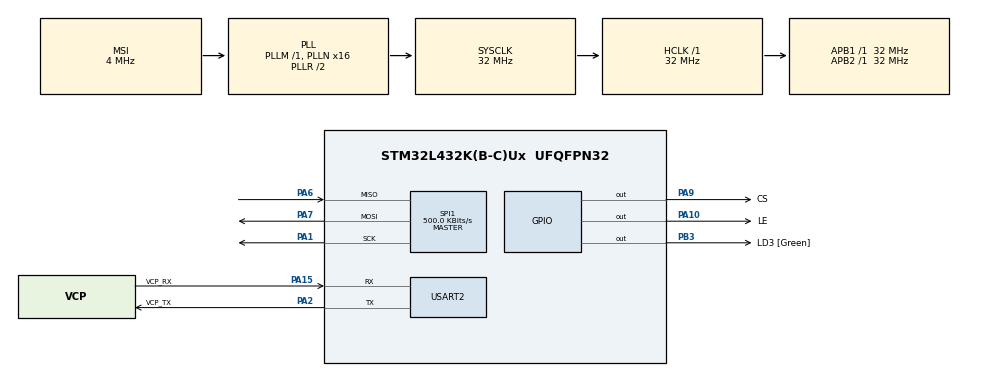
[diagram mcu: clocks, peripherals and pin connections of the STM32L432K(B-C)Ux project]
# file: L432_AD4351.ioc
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Mcu.Family=STM32L4
Mcu.Name=STM32L432K(B-C)Ux
Mcu.Package=UFQFPN32
NVIC.PriorityGroup=NVIC_PRIORITYGROUP_4
PA0.GPIO_Label=MCO [High speed clock in]
PA0.Mode=HSE-External-Clock-Source-for-LittleOrca
PA0.Signal=RCC_CK_IN
PA1.Mode=Full_Duplex_Master
PA1.Signal=SPI1_SCK
PA10.GPIO_Label=LE
PA10.Signal=GPIO_Output
PA13\ (JTMS-SWDIO).GPIO_Label=SWDIO
PA13\ (JTMS-SWDIO).Mode=Serial_Wire
PA13\ (JTMS-SWDIO).Signal=SYS_JTMS-SWDIO
PA14\ (JTCK-SWCLK).GPIO_Label=SWCLK
PA14\ (JTCK-SWCLK).Mode=Serial_Wire
PA14\ (JTCK-SWCLK).Signal=SYS_JTCK-SWCLK
PA15\ (JTDI).GPIO_Label=VCP_RX
PA15\ (JTDI).Mode=Asynchronous
PA15\ (JTDI).Signal=USART2_RX
PA2.GPIO_Label=VCP_TX
PA2.Mode=Asynchronous
PA2.Signal=USART2_TX
PA6.Mode=Full_Duplex_Master
PA6.Signal=SPI1_MISO
PA7.Mode=Full_Duplex_Master
PA7.Signal=SPI1_MOSI
PA9.GPIO_Label=CS
PA9.Signal=GPIO_Output
PB3\ (JTDO-TRACESWO).GPIO_Label=LD3 [Green]
PB3\ (JTDO-TRACESWO).Signal=GPIO_Output
PC14-OSC32_IN\ (PC14).Mode=LSE-External-Oscillator
PC14-OSC32_IN\ (PC14).Signal=RCC_OSC32_IN
PC15-OSC32_OUT\ (PC15).Mode=LSE-External-Oscillator
PC15-OSC32_OUT\ (PC15).Signal=RCC_OSC32_OUT
ProjectManager.HeapSize=0x200
ProjectManager.StackSize=0x400
ProjectManager.TargetToolchain=STM32CubeIDE
RCC.AHBFreq_Value=32000000
RCC.APB1Freq_Value=32000000
RCC.APB1TimFreq_Value=32000000
RCC.APB2Freq_Value=32000000
RCC.APB2TimFreq_Value=32000000
RCC.CortexFreq_Value=32000000
RCC.HCLKFreq_Value=32000000
RCC.HSE_VALUE=8000000
RCC.HSI16_VALUE=16000000
RCC.HSI48_VALUE=48000000
RCC.HSI_VALUE=16000000
RCC.MSI_VALUE=4000000
RCC.PLLMUL=RCC_PLLMUL_4
RCC.PLLN=16
RCC.SYSCLKFreq_VALUE=32000000
RCC.SYSCLKSource=RCC_SYSCLKSOURCE_PLLCLK
RCC.VCOOutputFreq_Value=64000000
SPI1.BaudRatePrescaler=SPI_BAUDRATEPRESCALER_64
SPI1.CalculateBaudRate=500.0 KBits/s
SPI1.DataSize=SPI_DATASIZE_8BIT
SPI1.Direction=SPI_DIRECTION_2LINES
SPI1.Mode=SPI_MODE_MASTER
SPI1.VirtualType=VM_MASTER
USART2.VirtualMode-Asynchronous=VM_ASYNC
board=NUCLEO-L432KC

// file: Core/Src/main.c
/* USER CODE BEGIN Header */
/**
  ******************************************************************************
  * @file           : main.c
  * @brief          : Main program body
  ******************************************************************************
  * @attention
  *
  * Copyright (c) 2026 STMicroelectronics.
  * All rights reserved.
  *
  * This software is licensed under terms that can be found in the LICENSE file
  * in the root directory of this software component.
  * If no LICENSE file comes with this software, it is provided AS-IS.
  *
  ******************************************************************************
  */
/* USER CODE END Header */
#include "main.h"

SPI_HandleTypeDef hspi1;

UART_HandleTypeDef huart2;

/* USER CODE BEGIN PV */
uint8_t	instruction = 0x00; // one byte of something or other
uint32_t registers[6] = {0x780000, 0x8008011, 0x4E42, 0x4B3, 0x9503FC, 0x580005}; // 1200MHz 10MHz ref clock
uint32_t AD4351_SPI_Timeout = 100;
uint16_t AD4351_SPI_NoBytes = 1;
/* USER CODE END PV */

void SystemClock_Config(void);
static void MX_GPIO_Init(void);
static void MX_USART2_UART_Init(void);
static void MX_SPI1_Init(void);

/* USER CODE BEGIN 0 */
void WriteRegister (const uint32_t value)
{
	HAL_GPIO_WritePin(LE_GPIO_Port, LE_Pin, GPIO_PIN_RESET);
	for (int i = 3; i >= 0; i--)
	{
		instruction = (value >> (8 * i)) & 0xFF;
		HAL_SPI_Transmit(&hspi1, &instruction, AD4351_SPI_NoBytes, AD4351_SPI_Timeout);
	}
	HAL_GPIO_WritePin(LE_GPIO_Port, LE_Pin, GPIO_PIN_SET);
	HAL_GPIO_WritePin(LE_GPIO_Port, LE_Pin, GPIO_PIN_RESET);

}

void SetAD4351()
{
	HAL_GPIO_WritePin(CS_GPIO_Port, CS_Pin, GPIO_PIN_RESET);
	for (int i = 5; i >= 0; i--)
	{
		WriteRegister(registers[i]);

	}
	HAL_GPIO_WritePin(CS_GPIO_Port, CS_Pin, GPIO_PIN_SET);
}
/* USER CODE END 0 */

int main(void)
{

  /* MCU Configuration--------------------------------------------------------*/

  /* Reset of all peripherals, Initializes the Flash interface and the Systick. */
  HAL_Init();

  /* Configure the system clock */
  SystemClock_Config();

  /* Initialize all configured peripherals */
  MX_GPIO_Init();
  MX_USART2_UART_Init();
  MX_SPI1_Init();

  /* Infinite loop */
  /* USER CODE BEGIN WHILE */
  while (1)
  {
	  // repeatedly send the registers over SPI every 2 seconds
	  // not necessary but great if you are looking for the data with
	  // a logic analyser - you can't miss it :-)
	  SetAD4351();
	  HAL_GPIO_TogglePin(LD3_GPIO_Port, LD3_Pin);
	  HAL_Delay(2000);
    /* USER CODE END WHILE */

  }
}

void SystemClock_Config(void)
{
  RCC_OscInitTypeDef RCC_OscInitStruct = {0};
  RCC_ClkInitTypeDef RCC_ClkInitStruct = {0};

  /** Configure the main internal regulator output voltage
  */
  if (HAL_PWREx_ControlVoltageScaling(PWR_REGULATOR_VOLTAGE_SCALE1) != HAL_OK)
  {
    Error_Handler();
  }

  /** Configure LSE Drive Capability
  */
  HAL_PWR_EnableBkUpAccess();
  __HAL_RCC_LSEDRIVE_CONFIG(RCC_LSEDRIVE_LOW);

  /** Initializes the RCC Oscillators according to the specified parameters
  * in the RCC_OscInitTypeDef structure.
  */
  RCC_OscInitStruct.OscillatorType = RCC_OSCILLATORTYPE_LSE|RCC_OSCILLATORTYPE_MSI;
  RCC_OscInitStruct.LSEState = RCC_LSE_ON;
  RCC_OscInitStruct.MSIState = RCC_MSI_ON;
  RCC_OscInitStruct.MSICalibrationValue = 0;
  RCC_OscInitStruct.MSIClockRange = RCC_MSIRANGE_6;
  RCC_OscInitStruct.PLL.PLLState = RCC_PLL_ON;
  RCC_OscInitStruct.PLL.PLLSource = RCC_PLLSOURCE_MSI;
  RCC_OscInitStruct.PLL.PLLM = 1;
  RCC_OscInitStruct.PLL.PLLN = 16;
  RCC_OscInitStruct.PLL.PLLP = RCC_PLLP_DIV7;
  RCC_OscInitStruct.PLL.PLLQ = RCC_PLLQ_DIV2;
  RCC_OscInitStruct.PLL.PLLR = RCC_PLLR_DIV2;
  if (HAL_RCC_OscConfig(&RCC_OscInitStruct) != HAL_OK)
  {
    Error_Handler();
  }

  /** Initializes the CPU, AHB and APB buses clocks
  */
  RCC_ClkInitStruct.ClockType = RCC_CLOCKTYPE_HCLK|RCC_CLOCKTYPE_SYSCLK
                              |RCC_CLOCKTYPE_PCLK1|RCC_CLOCKTYPE_PCLK2;
  RCC_ClkInitStruct.SYSCLKSource = RCC_SYSCLKSOURCE_PLLCLK;
  RCC_ClkInitStruct.AHBCLKDivider = RCC_SYSCLK_DIV1;
  RCC_ClkInitStruct.APB1CLKDivider = RCC_HCLK_DIV1;
  RCC_ClkInitStruct.APB2CLKDivider = RCC_HCLK_DIV1;

  if (HAL_RCC_ClockConfig(&RCC_ClkInitStruct, FLASH_LATENCY_1) != HAL_OK)
  {
    Error_Handler();
  }

  /** Enable MSI Auto calibration
  */
  HAL_RCCEx_EnableMSIPLLMode();
}

static void MX_SPI1_Init(void)
{

  /* SPI1 parameter configuration*/
  hspi1.Instance = SPI1;
  hspi1.Init.Mode = SPI_MODE_MASTER;
  hspi1.Init.Direction = SPI_DIRECTION_2LINES;
  hspi1.Init.DataSize = SPI_DATASIZE_8BIT;
  hspi1.Init.CLKPolarity = SPI_POLARITY_LOW;
  hspi1.Init.CLKPhase = SPI_PHASE_1EDGE;
  hspi1.Init.NSS = SPI_NSS_SOFT;
  hspi1.Init.BaudRatePrescaler = SPI_BAUDRATEPRESCALER_64;
  hspi1.Init.FirstBit = SPI_FIRSTBIT_MSB;
  hspi1.Init.TIMode = SPI_TIMODE_DISABLE;
  hspi1.Init.CRCCalculation = SPI_CRCCALCULATION_DISABLE;
  hspi1.Init.CRCPolynomial = 7;
  hspi1.Init.CRCLength = SPI_CRC_LENGTH_DATASIZE;
  hspi1.Init.NSSPMode = SPI_NSS_PULSE_ENABLE;
  if (HAL_SPI_Init(&hspi1) != HAL_OK)
  {
    Error_Handler();
  }

}

static void MX_USART2_UART_Init(void)
{

  huart2.Instance = USART2;
  huart2.Init.BaudRate = 115200;
  huart2.Init.WordLength = UART_WORDLENGTH_8B;
  huart2.Init.StopBits = UART_STOPBITS_1;
  huart2.Init.Parity = UART_PARITY_NONE;
  huart2.Init.Mode = UART_MODE_TX_RX;
  huart2.Init.HwFlowCtl = UART_HWCONTROL_NONE;
  huart2.Init.OverSampling = UART_OVERSAMPLING_16;
  huart2.Init.OneBitSampling = UART_ONE_BIT_SAMPLE_DISABLE;
  huart2.AdvancedInit.AdvFeatureInit = UART_ADVFEATURE_NO_INIT;
  if (HAL_UART_Init(&huart2) != HAL_OK)
  {
    Error_Handler();
  }

}

static void MX_GPIO_Init(void)
{
  GPIO_InitTypeDef GPIO_InitStruct = {0};

  /* GPIO Ports Clock Enable */
  __HAL_RCC_GPIOC_CLK_ENABLE();
  __HAL_RCC_GPIOA_CLK_ENABLE();
  __HAL_RCC_GPIOB_CLK_ENABLE();

  /*Configure GPIO pin Output Level */
  HAL_GPIO_WritePin(GPIOA, CS_Pin|LE_Pin, GPIO_PIN_RESET);

  /*Configure GPIO pin Output Level */
  HAL_GPIO_WritePin(LD3_GPIO_Port, LD3_Pin, GPIO_PIN_RESET);

  /*Configure GPIO pins : CS_Pin LE_Pin */
  GPIO_InitStruct.Pin = CS_Pin|LE_Pin;
  GPIO_InitStruct.Mode = GPIO_MODE_OUTPUT_PP;
  GPIO_InitStruct.Pull = GPIO_NOPULL;
  GPIO_InitStruct.Speed = GPIO_SPEED_FREQ_LOW;
  HAL_GPIO_Init(GPIOA, &GPIO_InitStruct);

  /*Configure GPIO pin : LD3_Pin */
  GPIO_InitStruct.Pin = LD3_Pin;
  GPIO_InitStruct.Mode = GPIO_MODE_OUTPUT_PP;
  GPIO_InitStruct.Pull = GPIO_NOPULL;
  GPIO_InitStruct.Speed = GPIO_SPEED_FREQ_LOW;
  HAL_GPIO_Init(LD3_GPIO_Port, &GPIO_InitStruct);

}

void Error_Handler(void)
{
  __disable_irq();
  while (1)
  {
  }
}
